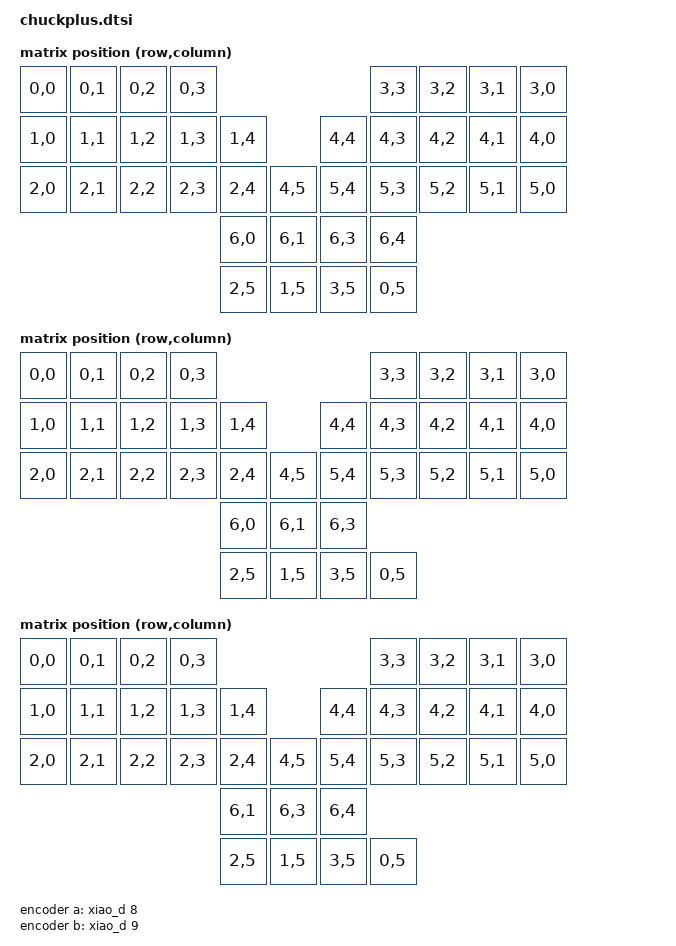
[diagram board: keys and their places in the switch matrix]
#include <dt-bindings/zmk/matrix_transform.h>
#include "chuckplus-layouts.dtsi"

/ {
    chosen {
        zmk,physical-layout = &chuckplus_layout22;
    };

    chuckplus_transform_22: keymap_transform_22 {
        compatible = "zmk,matrix-transform";
        columns = <6>;
        rows = <7>;
        map = <
            RC(0,0) RC(0,1) RC(0,2) RC(0,3)                                         RC(3,3) RC(3,2) RC(3,1) RC(3,0)
            RC(1,0) RC(1,1) RC(1,2) RC(1,3) RC(1,4)                         RC(4,4) RC(4,3) RC(4,2) RC(4,1) RC(4,0)
            RC(2,0) RC(2,1) RC(2,2) RC(2,3) RC(2,4)         RC(4,5)         RC(5,4) RC(5,3) RC(5,2) RC(5,1) RC(5,0)
                                            RC(6,0) RC(6,1)         RC(6,3) RC(6,4)
                                                RC(2,5) RC(1,5) RC(3,5) RC(0,5)
        >;
    };

    chuckplus_transform_21: keymap_transform_21 {
        compatible = "zmk,matrix-transform";
        columns = <6>;
        rows = <7>;
        map = <
            RC(0,0) RC(0,1) RC(0,2) RC(0,3)                                         RC(3,3) RC(3,2) RC(3,1) RC(3,0)
            RC(1,0) RC(1,1) RC(1,2) RC(1,3) RC(1,4)                         RC(4,4) RC(4,3) RC(4,2) RC(4,1) RC(4,0)
            RC(2,0) RC(2,1) RC(2,2) RC(2,3) RC(2,4)         RC(4,5)         RC(5,4) RC(5,3) RC(5,2) RC(5,1) RC(5,0)
                                            RC(6,0) RC(6,1)         RC(6,3)
                                                RC(2,5) RC(1,5) RC(3,5) RC(0,5)
        >;
    };

    chuckplus_transform_12: keymap_transform_12 {
        compatible = "zmk,matrix-transform";
        columns = <6>;
        rows = <7>;
        map = <
            RC(0,0) RC(0,1) RC(0,2) RC(0,3)                                         RC(3,3) RC(3,2) RC(3,1) RC(3,0)
            RC(1,0) RC(1,1) RC(1,2) RC(1,3) RC(1,4)                         RC(4,4) RC(4,3) RC(4,2) RC(4,1) RC(4,0)
            RC(2,0) RC(2,1) RC(2,2) RC(2,3) RC(2,4)         RC(4,5)         RC(5,4) RC(5,3) RC(5,2) RC(5,1) RC(5,0)
                                                    RC(6,1)         RC(6,3) RC(6,4)
                                                RC(2,5) RC(1,5) RC(3,5) RC(0,5)
        >;
    };

    chuckplus_transform_11: keymap_transform_11 {
        compatible = "zmk,matrix-transform";
        columns = <6>;
        rows = <7>;
        map = <
            RC(0,0) RC(0,1) RC(0,2) RC(0,3)                                         RC(3,3) RC(3,2) RC(3,1) RC(3,0)
            RC(1,0) RC(1,1) RC(1,2) RC(1,3) RC(1,4)                         RC(4,4) RC(4,3) RC(4,2) RC(4,1) RC(4,0)
            RC(2,0) RC(2,1) RC(2,2) RC(2,3) RC(2,4)         RC(4,5)         RC(5,4) RC(5,3) RC(5,2) RC(5,1) RC(5,0)
                                                    RC(6,1)         RC(6,3)
                                                RC(2,5) RC(1,5) RC(3,5) RC(0,5)
        >;
    };

    encoder: encoder {
        compatible = "alps,ec11";
        // Eh, the rkjxt seems to have A and B pulses opposite of the EC11,
        // so we lie about which is which so we get clockwise to be clockwise
        a-gpios = <&xiao_d 8 (GPIO_ACTIVE_HIGH | GPIO_PULL_UP)>;
        b-gpios = <&xiao_d 9 (GPIO_ACTIVE_HIGH | GPIO_PULL_UP)>;
        steps = <2>;
        status = "disabled";
    };

    sensors: sensors {
        compatible = "zmk,keymap-sensors";
        sensors = <&encoder>;
        triggers-per-rotation = <1>;
    };
};

// vim: expandtab softtabstop=4 shiftwidth=4
